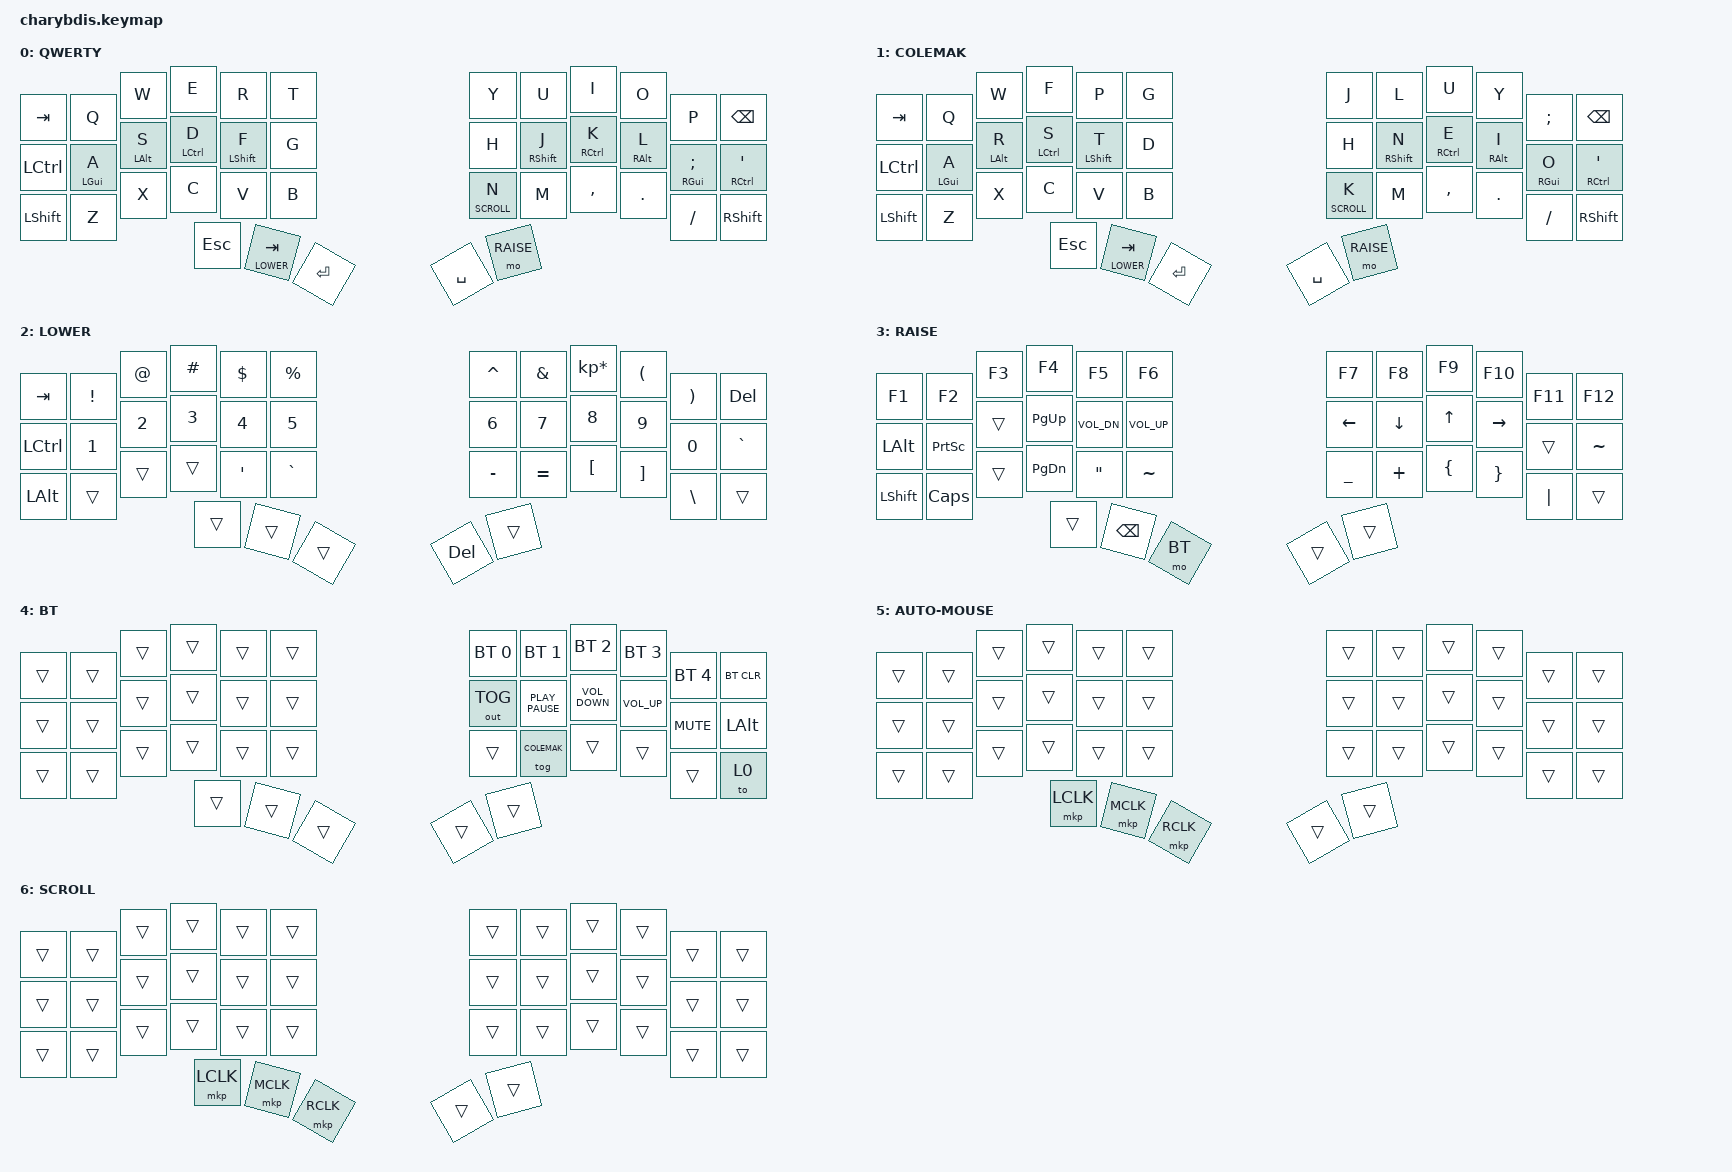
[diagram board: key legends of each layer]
#include <behaviors/mouse_keys.dtsi>
#include <behaviors.dtsi>
#include <dt-bindings/zmk/keys.h>
#include <dt-bindings/zmk/bt.h>
#include <dt-bindings/zmk/ext_power.h>
#include <dt-bindings/zmk/mouse.h>
#include <dt-bindings/zmk/outputs.h>
#include <input/processors.dtsi>
#include <dt-bindings/zmk/input_transform.h>

#define U_TAPPING_TERM 200
#define QWERTY 0
#define COLEMAK 1
#define LOWER 2
#define RAISE 3
#define BT 4 
#define MOUSE 5
#define SCROLL 6

/ {
    trackball_listener {
        compatible = "zmk,input-listener";
        device = <&trackball>;
        input-processors = <&zip_xy_scaler 1 2>, <&zip_temp_layer MOUSE 400>; // Switch to auto-mouse temp layer, decrease sensitivity
        scroll {
            layers = <SCROLL>; // SCROLL
            input-processors = <&zip_xy_scaler 1 5>, <&zip_xy_to_scroll_mapper>, <&zip_scroll_transform (INPUT_TRANSFORM_Y_INVERT)>;
        };
    };

    behaviors {
        u_mt: u_mt {
            compatible = "zmk,behavior-hold-tap";
            label = "u_mt";
            #binding-cells = <2>;
            tapping_term_ms = <U_TAPPING_TERM>;
            flavor = "tap-preferred";
            bindings = <&kp>, <&kp>;
        };

        u_lt: u_lt {
            compatible = "zmk,behavior-hold-tap";
            label = "u_lt";
            #binding-cells = <2>;
            tapping_term_ms = <U_TAPPING_TERM>;
            flavor = "tap-preferred";
            bindings = <&mo>, <&kp>;
        };

        Shift_Enter: Shift_Enter {
            compatible = "zmk,behavior-hold-tap";
            label = "SHIFT_ENTER";
            bindings = <&kp>, <&kp>;

            #binding-cells = <2>;
            hold-trigger-key-positions = <40>;
            tapping-term-ms = <100>;
        };
    };

    keymap {
        compatible = "zmk,keymap";

        BASE {
            display-name = "QWERTY";
            bindings = <
&kp TAB   &kp Q             &kp W             &kp E           &kp R           &kp T         &kp Y       &kp U               &kp I         &kp O                 &kp P             &kp BSPC
&kp LCTRL &u_mt LEFT_GUI A  &u_mt LEFT_ALT S  &u_mt LCTRL D   &u_mt LSHFT F   &kp G         &kp H       &u_mt RSHFT J       &u_mt RCTRL K &u_mt RIGHT_ALT L     &u_mt RGUI SEMI   &u_mt RCTRL APOS
&kp LSHFT &kp Z             &kp X             &kp C           &kp V           &kp B         &u_lt SCROLL N   &kp M               &kp COMMA     &kp DOT               &kp FSLH          &kp RSHFT
                                              &kp ESC         &u_lt LOWER TAB     &kp RET       &kp SPACE   &mo RAISE
            >;
        };

        COLEMAK {
            display-name = "COLEMAK";
            bindings = <
&kp TAB   &kp Q             &kp W             &kp F          &kp P           &kp G         &kp J       &kp L               &kp U         &kp Y                 &kp SEMI             &kp BSPC
&kp LCTRL &u_mt LEFT_GUI A  &u_mt LEFT_ALT R  &u_mt LCTRL S   &u_mt LSHFT T   &kp D         &kp H       &u_mt RSHFT N       &u_mt RCTRL E &u_mt RIGHT_ALT I     &u_mt RGUI O   &u_mt RCTRL APOS
&kp LSHFT &kp Z             &kp X             &kp C           &kp V           &kp B         &u_lt SCROLL K   &kp M               &kp COMMA     &kp DOT               &kp FSLH          &kp RSHFT
                                              &kp ESC         &u_lt LOWER TAB     &kp RET       &kp SPACE   &mo RAISE
            >;
        };

        LOWER {
            display-name = "LOWER";
            bindings = <
&kp TAB       &kp EXCL      &kp AT    &kp HASH    &kp DLLR      &kp PRCNT     &kp CARET  &kp AMPS   &kp KP_MULTIPLY   &kp LPAR  &kp RPAR      &kp DEL
&kp LCTRL     &kp N1        &kp N2    &kp N3      &kp N4        &kp N5        &kp N6     &kp N7     &kp N8            &kp N9    &kp N0        &kp GRAVE
&kp LEFT_ALT  &trans        &trans    &trans      &kp APOS      &kp GRAVE     &kp MINUS  &kp EQUAL  &kp LBKT          &kp RBKT  &kp BSLH      &trans
                            &trans    &trans      &trans        &kp DEL       &trans
            >;
        };

        RAISE {
            display-name = "RAISE";
            bindings = <
&kp F1        &kp F2      &kp F3   &kp F4    &kp F5        &kp F6          &kp F7      &kp F8     &kp F9     &kp F10    &kp F11  &kp F12
&kp LEFT_ALT  &kp PSCRN   &trans   &kp PG_UP &kp C_VOL_DN  &kp C_VOL_UP    &kp LEFT    &kp DOWN   &kp UP     &kp RIGHT  &trans   &kp TILDE   
&kp LSHFT     &kp CAPS    &trans   &kp PG_DN &kp DQT       &kp TILDE       &kp UNDER   &kp PLUS   &kp LBRC   &kp RBRC   &kp PIPE &trans
                                   &trans    &kp BSPC      &mo BT           &trans      &trans
            >;
        };
        BT {
            display-name = "BT";
            bindings = <
&trans  &trans   &trans  &trans   &trans  &trans   &bt BT_SEL 0  &bt BT_SEL 1   &bt BT_SEL 2   &bt BT_SEL 3    &bt BT_SEL 4  &bt BT_CLR
&trans  &trans   &trans  &trans   &trans  &trans   &out OUT_TOG  &kp K_PLAY_PAUSE  &kp C_VOLUME_DOWN  &kp C_VOLUME_UP  &kp C_MUTE  &kp LALT
&trans  &trans   &trans  &trans   &trans  &trans   &trans        &tog COLEMAK            &trans             &trans           &trans        &to 0
                         &trans   &trans   &trans     &trans        &trans
            >;
        };

        AUTO-MOUSE {
            display-name = "AUTO-MOUSE";
            bindings = <
&trans  &trans  &trans  &trans    &trans  &trans       &trans  &trans  &trans  &trans  &trans  &trans
&trans  &trans  &trans  &trans    &trans  &trans    &trans  &trans  &trans  &trans  &trans  &trans
&trans  &trans  &trans  &trans    &trans  &trans    &trans  &trans  &trans  &trans  &trans  &trans
                        &mkp LCLK  &mkp MCLK &mkp RCLK  &trans  &trans
            >;
        };

        SCROLL {
            display-name = "SCROLL";
            bindings = <
&trans  &trans  &trans  &trans  &trans  &trans    &trans  &trans  &trans  &trans  &trans  &trans
&trans  &trans  &trans  &trans  &trans  &trans    &trans  &trans  &trans  &trans  &trans  &trans
&trans  &trans  &trans  &trans  &trans  &trans    &trans  &trans  &trans  &trans  &trans  &trans
                        &mkp LCLK  &mkp MCLK &mkp RCLK  &trans  &trans
            >;
        };

    };
};
